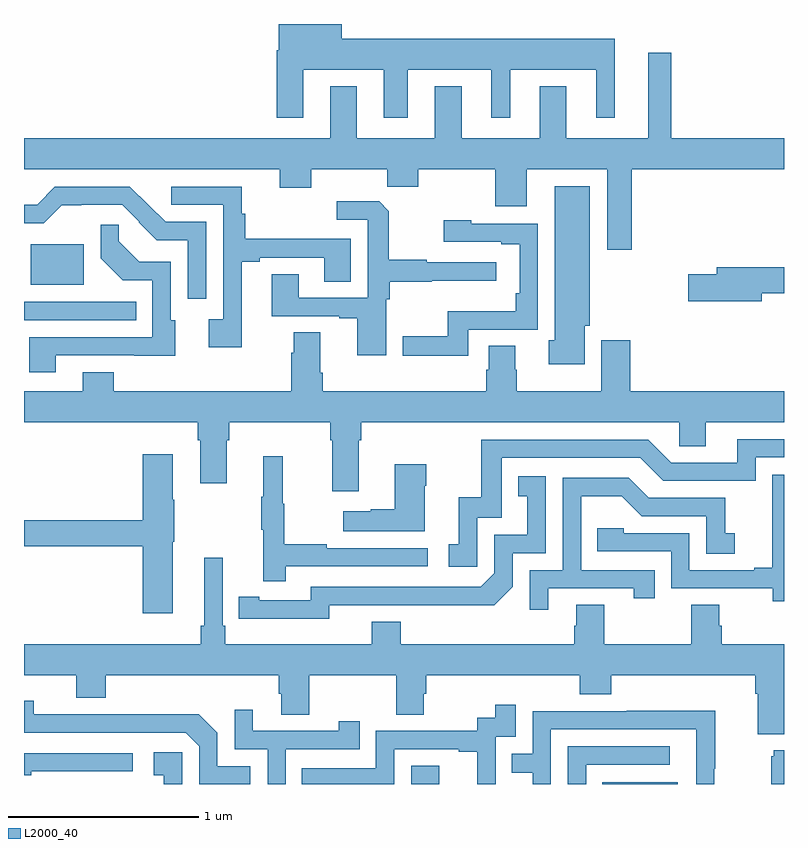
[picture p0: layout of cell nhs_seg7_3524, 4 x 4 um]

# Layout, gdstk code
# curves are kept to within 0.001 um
import gdstk
lib = gdstk.Library(unit=1e-6, precision=1e-09)
def R(c, l, rs):  # rectangles x0, y0, x1, y1
    for r in rs: c.add(gdstk.rectangle(r[:2], r[2:], *l))
def P(c, l, *ps):  # polygons
    for p in ps: c.add(gdstk.Polygon(p, *l))
L2000_40 = (2000, 40)

nhs_seg7_3524 = lib.new_cell('nhs_seg7_3524')
R(nhs_seg7_3524, L2000_40, [(337.038,1044,337.186,1044.097), (338.044,1044,338.44,1044.01), (335,1046.442,335.591,1046.538), (335.036,1046.627,335.314,1046.842)])
P(nhs_seg7_3524, L2000_40, [(336.469,1047.758),(336.893,1047.758),(336.893,1047.507),(337.021,1047.507),(337.021,1047.758),(337.46,1047.758),(337.46,1047.507),(337.558,1047.507),(337.558,1047.758),(338.012,1047.758),(338.012,1047.507),(338.11,1047.507),(338.11,1047.922),(336.673,1047.922),(336.673,1048),(336.341,1048),(336.341,1047.862),(336.329,1047.862),(336.329,1047.507),(336.469,1047.507)],
  [(338.198,1047.236),(339,1047.236),(339,1047.4),(338.407,1047.4),(338.407,1047.85),(338.285,1047.85),(338.285,1047.4),(337.855,1047.4),(337.855,1047.673),(337.715,1047.673),(337.715,1047.4),(337.303,1047.4),(337.303,1047.673),(337.163,1047.673),(337.163,1047.4),(336.751,1047.4),(336.751,1047.673),(336.611,1047.673),(336.611,1047.4),(335,1047.4),(335,1047.236),(336.347,1047.236),(336.347,1047.137),(336.511,1047.137),(336.511,1047.236),(336.911,1047.236),(336.911,1047.143),(337.075,1047.143),(337.075,1047.236),(337.481,1047.236),(337.481,1047.042),(337.645,1047.042),(337.645,1047.236),(338.069,1047.236),(338.069,1046.811),(338.198,1046.811)],
  [(337.951,1046.412),(337.978,1046.412),(337.978,1047.145),(337.793,1047.145),(337.793,1046.336),(337.763,1046.336),(337.763,1046.21),(337.951,1046.21)],
  [(335.958,1046.958),(335.745,1046.958),(335.557,1047.144),(335.163,1047.144),(335.069,1047.05),(335,1047.05),(335,1046.952),(335.103,1046.952),(335.198,1047.047),(335.517,1047.048),(335.607,1046.958),(335.605,1046.956),(335.699,1046.862),(335.862,1046.862),(335.862,1046.555),(335.958,1046.555)],
  [(336.145,1046.749),(336.241,1046.749),(336.241,1046.769),(336.581,1046.769),(336.581,1046.644),(336.721,1046.644),(336.721,1046.87),(336.164,1046.87),(336.164,1047.002),(336.146,1047.002),(336.146,1047.144),(335.775,1047.144),(335.775,1047.048),(336.048,1047.048),(336.048,1046.446),(335.973,1046.446),(335.973,1046.298),(336.145,1046.298)],
  [(336.906,1046.552),(336.926,1046.552),(336.926,1046.644),(337.145,1046.644),(337.145,1046.648),(337.486,1046.648),(337.486,1046.745),(337.121,1046.745),(337.121,1046.758),(336.921,1046.758),(336.921,1047.015),(336.869,1047.067),(336.645,1047.067),(336.645,1046.97),(336.81,1046.97),(336.81,1046.559),(336.445,1046.559),(336.445,1046.684),(336.305,1046.684),(336.305,1046.463),(336.659,1046.463),(336.659,1046.451),(336.755,1046.451),(336.755,1046.256),(336.906,1046.256)],
  [(337.338,1046.391),(337.704,1046.391),(337.704,1046.949),(337.353,1046.949),(337.353,1046.968),(337.209,1046.968),(337.209,1046.853),(337.511,1046.853),(337.511,1046.841),(337.608,1046.841),(337.608,1046.584),(337.588,1046.584),(337.588,1046.488),(337.23,1046.488),(337.23,1046.357),(336.993,1046.357),(336.993,1046.255),(337.338,1046.255)],
  [(335.167,1046.256),(335.797,1046.255),(335.797,1046.442),(335.772,1046.442),(335.772,1046.748),(335.606,1046.748),(335.498,1046.856),(335.498,1046.944),(335.403,1046.944),(335.403,1046.768),(335.519,1046.652),(335.676,1046.652),(335.676,1046.352),(335.027,1046.352),(335.027,1046.166),(335.167,1046.166)],
  [(338.884,1046.584),(339,1046.584),(339,1046.72),(338.645,1046.72),(338.645,1046.684),(338.496,1046.684),(338.496,1046.542),(338.884,1046.542)],
  [(336.763,1045.808),(336.776,1045.808),(336.776,1045.904),(338.448,1045.904),(338.448,1045.777),(338.587,1045.777),(338.587,1045.904),(339,1045.904),(339,1046.068),(338.192,1046.068),(338.192,1046.335),(338.039,1046.335),(338.039,1046.068),(337.593,1046.068),(337.593,1046.181),(337.585,1046.181),(337.585,1046.306),(337.445,1046.306),(337.445,1046.181),(337.433,1046.181),(337.433,1046.068),(336.572,1046.068),(336.572,1046.164),(336.559,1046.164),(336.559,1046.378),(336.419,1046.378),(336.419,1046.27),(336.407,1046.27),(336.407,1046.068),(335.473,1046.068),(335.473,1046.167),(335.309,1046.167),(335.309,1046.068),(335,1046.068),(335,1045.904),(335.915,1045.904),(335.915,1045.808),(335.927,1045.808),(335.927,1045.584),(336.067,1045.584),(336.067,1045.808),(336.08,1045.808),(336.08,1045.904),(336.611,1045.904),(336.611,1045.808),(336.623,1045.808),(336.623,1045.542),(336.763,1045.542)],
  [(337.386,1045.401),(337.515,1045.401),(337.515,1045.716),(338.244,1045.716),(338.364,1045.596),(338.85,1045.596),(338.85,1045.719),(339,1045.719),(339,1045.815),(338.753,1045.815),(338.753,1045.692),(338.406,1045.692),(338.286,1045.812),(337.407,1045.812),(337.407,1045.51),(337.289,1045.51),(337.289,1045.263),(337.236,1045.263),(337.236,1045.143),(337.386,1045.143)],
  [(335.782,1045.275),(335.79,1045.275),(335.79,1045.496),(335.782,1045.496),(335.782,1045.735),(335.624,1045.735),(335.624,1045.388),(335,1045.388),(335,1045.252),(335.624,1045.252),(335.624,1044.9),(335.782,1044.9)],
  [(336.377,1045.146),(337.126,1045.146),(337.126,1045.242),(336.593,1045.242),(336.593,1045.262),(336.37,1045.262),(336.37,1045.476),(336.362,1045.476),(336.362,1045.726),(336.26,1045.726),(336.26,1045.513),(336.249,1045.513),(336.249,1045.339),(336.26,1045.339),(336.26,1045.068),(336.377,1045.068)],
  [(337.108,1045.571),(337.116,1045.571),(337.116,1045.684),(336.95,1045.684),(336.95,1045.445),(336.824,1045.445),(336.824,1045.435),(336.681,1045.435),(336.681,1045.331),(337.108,1045.331)],
  [(339,1045.627),(338.938,1045.627),(338.938,1045.421),(338.939,1045.421),(338.939,1045.138),(338.843,1045.138),(338.843,1045.125),(338.502,1045.125),(338.502,1045.32),(338.157,1045.32),(338.157,1045.347),(338.017,1045.347),(338.017,1045.224),(338.406,1045.224),(338.406,1045.029),(338.94,1045.029),(338.94,1044.961),(339,1044.961)],
  [(336.606,1044.942),(337.474,1044.941),(337.572,1045.038),(337.572,1045.215),(337.746,1045.215),(337.746,1045.621),(337.6,1045.621),(337.6,1045.515),(337.649,1045.515),(337.649,1045.311),(337.476,1045.311),(337.476,1045.11),(337.404,1045.038),(336.51,1045.038),(336.51,1044.966),(336.238,1044.966),(336.238,1044.986),(336.13,1044.986),(336.13,1044.87),(336.606,1044.869)],
  [(337.759,1045.029),(338.21,1045.029),(338.21,1044.978),(338.321,1044.978),(338.321,1045.125),(337.932,1045.125),(337.932,1045.514),(338.146,1045.514),(338.25,1045.41),(338.592,1045.41),(338.592,1045.212),(338.74,1045.212),(338.74,1045.321),(338.691,1045.321),(338.691,1045.506),(338.287,1045.506),(338.182,1045.611),(337.836,1045.611),(337.836,1045.125),(337.662,1045.125),(337.662,1044.918),(337.759,1044.918)],
  [(339,1044.736),(338.672,1044.736),(338.672,1044.834),(338.659,1044.834),(338.659,1044.944),(338.512,1044.944),(338.512,1044.736),(338.055,1044.736),(338.055,1044.944),(337.907,1044.944),(337.907,1044.834),(337.895,1044.834),(337.895,1044.736),(336.983,1044.736),(336.983,1044.853),(336.83,1044.853),(336.83,1044.736),(336.059,1044.736),(336.059,1044.832),(336.045,1044.832),(336.045,1045.192),(335.948,1045.192),(335.948,1044.832),(335.929,1044.832),(335.929,1044.736),(335,1044.736),(335,1044.572),(335.276,1044.572),(335.276,1044.455),(335.429,1044.455),(335.429,1044.572),(336.341,1044.572),(336.341,1044.474),(336.353,1044.474),(336.353,1044.364),(336.501,1044.364),(336.501,1044.572),(336.958,1044.572),(336.958,1044.364),(337.105,1044.364),(337.105,1044.474),(337.118,1044.474),(337.118,1044.572),(337.925,1044.572),(337.925,1044.473),(338.09,1044.473),(338.09,1044.572),(338.849,1044.572),(338.849,1044.476),(338.861,1044.476),(338.861,1044.263),(339,1044.263)],
  [(336.192,1044.093),(336.018,1044.093),(336.018,1044.27),(335.92,1044.368),(335.512,1044.368),(335.512,1044.366),(335.052,1044.366),(335.052,1044.439),(335,1044.439),(335,1044.27),(335.85,1044.27),(335.922,1044.198),(335.922,1044),(336.192,1044)],
  [(336.948,1044.183),(337.289,1044.183),(337.289,1044.171),(337.385,1044.171),(337.385,1044),(337.484,1044),(337.484,1044.02),(337.482,1044.02),(337.482,1044.249),(337.587,1044.249),(337.587,1044.418),(337.479,1044.418),(337.479,1044.348),(337.386,1044.348),(337.386,1044.279),(336.852,1044.279),(336.852,1044.084),(336.463,1044.084),(336.463,1044),(336.948,1044)],
  [(336.378,1044.183),(336.767,1044.183),(336.767,1044.331),(336.656,1044.331),(336.656,1044.279),(336.205,1044.279),(336.205,1044.391),(336.108,1044.391),(336.108,1044.183),(336.282,1044.183),(336.282,1044),(336.378,1044)],
  [(337.773,1044.288),(338.537,1044.288),(338.537,1044.037),(338.538,1044.037),(338.538,1044),(338.634,1044),(338.634,1044.079),(338.637,1044.079),(338.637,1044.386),(338.173,1044.386),(338.173,1044.384),(337.677,1044.384),(337.677,1044.159),(337.567,1044.159),(337.567,1044.058),(337.677,1044.058),(337.677,1044),(337.773,1044)],
  [(337.959,1044.102),(338.398,1044.102),(338.398,1044.198),(337.863,1044.198),(337.863,1044),(337.959,1044)],
  [(339,1044.178),(338.945,1044.178),(338.945,1044.147),(338.933,1044.147),(338.933,1044),(339,1044)],
  [(335.832,1044.166),(335.682,1044.166),(335.682,1044.045),(335.735,1044.045),(335.735,1044),(335.832,1044)],
  [(335.039,1044.066),(335.572,1044.066),(335.572,1044.162),(335,1044.162),(335,1044.046),(335.039,1044.046)])

lib.write_gds('nhs_seg7_3524.gds')
